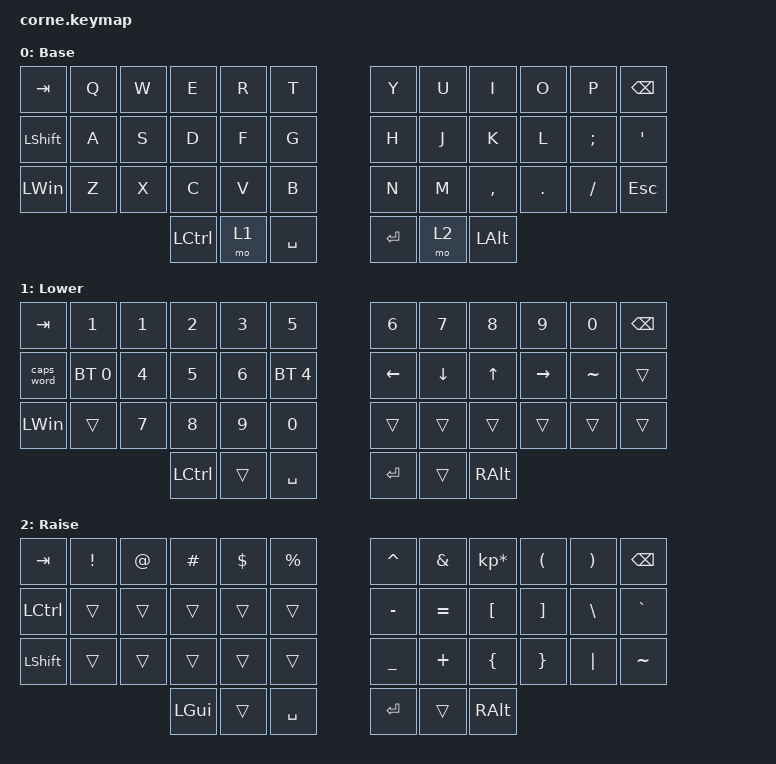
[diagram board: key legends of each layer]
/*
 * Copyright (c) 2020 The ZMK Contributors
 *
 * SPDX-License-Identifier: MIT
 */

#include <behaviors.dtsi>
#include <dt-bindings/zmk/bt.h>
#include <dt-bindings/zmk/keys.h>

/ {
    keymap {
        compatible = "zmk,keymap";

        default_layer {
            // -----------------------------------------------------------------------------------------
            // |  TAB |  Q  |  W  |  E  |  R  |  T  |   |  Y  |  U   |  I  |  O  |  P  | BKSP |
            // | CTRL |  A  |  S  |  D  |  F  |  G  |   |  H  |  J   |  K  |  L  |  ;  |  '   |
            // | SHFT |  Z  |  X  |  C  |  V  |  B  |   |  N  |  M   |  ,  |  .  |  /  | ESC  |
            //                    | GUI | LWR | SPC |   | ENT | RSE  | ALT |

            display-name = "Base";
            bindings = <
&kp TAB         &kp Q  &kp W  &kp E             &kp R  &kp T        &kp Y    &kp U  &kp I         &kp O    &kp P     &kp BSPC
&kp LEFT_SHIFT  &kp A  &kp S  &kp D             &kp F  &kp G        &kp H    &kp J  &kp K         &kp L    &kp SEMI  &kp SQT
&kp LEFT_WIN    &kp Z  &kp X  &kp C             &kp V  &kp B        &kp N    &kp M  &kp COMMA     &kp DOT  &kp FSLH  &kp ESC
                              &kp LEFT_CONTROL  &mo 1  &kp SPACE    &kp RET  &mo 2  &kp LEFT_ALT
            >;
        };

        lower_layer {
            // -----------------------------------------------------------------------------------------
            // |  TAB |  1  |  2  |  3  |  4  |  5  |   |  6  |  7  |  8  |  9  |  0  | BKSP |
            // | BTCLR| BT1 | BT2 | BT3 | BT4 | BT5 |   | LFT | DWN |  UP | RGT |     |      |
            // | SHFT |     |     |     |     |     |   |     |     |     |     |     |      |
            //                    | GUI |     | SPC |   | ENT |     | ALT |

            display-name = "Lower";
            bindings = <
&kp TAB       &kp N1        &kp NUMBER_1  &kp NUMBER_2      &kp NUMBER_3  &kp N5          &kp N6    &kp N7    &kp N8    &kp N9     &kp N0     &kp BSPC
&caps_word    &bt BT_SEL 0  &kp NUMBER_4  &kp N5            &kp NUMBER_6  &bt BT_SEL 4    &kp LEFT  &kp DOWN  &kp UP    &kp RIGHT  &kp TILDE  &trans
&kp LEFT_WIN  &trans        &kp N7        &kp N8            &kp N9        &kp N0          &trans    &trans    &trans    &trans     &trans     &trans
                                          &kp LEFT_CONTROL  &trans        &kp SPACE       &kp RET   &trans    &kp RALT
            >;
        };

        raise_layer {
            // -----------------------------------------------------------------------------------------
            // |  TAB |  !  |  @  |  #  |  $  |  %  |   |  ^  |  &  |  *  |  (  |  )  | BKSP |
            // | CTRL |     |     |     |     |     |   |  -  |  =  |  [  |  ]  |  \  |  `   |
            // | SHFT |     |     |     |     |     |   |  _  |  +  |  {  |  }  | "|" |  ~   |
            //                    | GUI |     | SPC |   | ENT |     | ALT |

            display-name = "Raise";
            bindings = <
&kp TAB    &kp EXCL  &kp AT  &kp HASH  &kp DLLR  &kp PRCNT    &kp CARET  &kp AMPS   &kp KP_MULTIPLY  &kp LPAR  &kp RPAR  &kp BSPC
&kp LCTRL  &trans    &trans  &trans    &trans    &trans       &kp MINUS  &kp EQUAL  &kp LBKT         &kp RBKT  &kp BSLH  &kp GRAVE
&kp LSHFT  &trans    &trans  &trans    &trans    &trans       &kp UNDER  &kp PLUS   &kp LBRC         &kp RBRC  &kp PIPE  &kp TILDE
                             &kp LGUI  &trans    &kp SPACE    &kp RET    &trans     &kp RALT
            >;
        };

        extra_1 { status = "reserved"; };

        extra_2 { status = "reserved"; };

        extra_3 { status = "reserved"; };
    };
};
